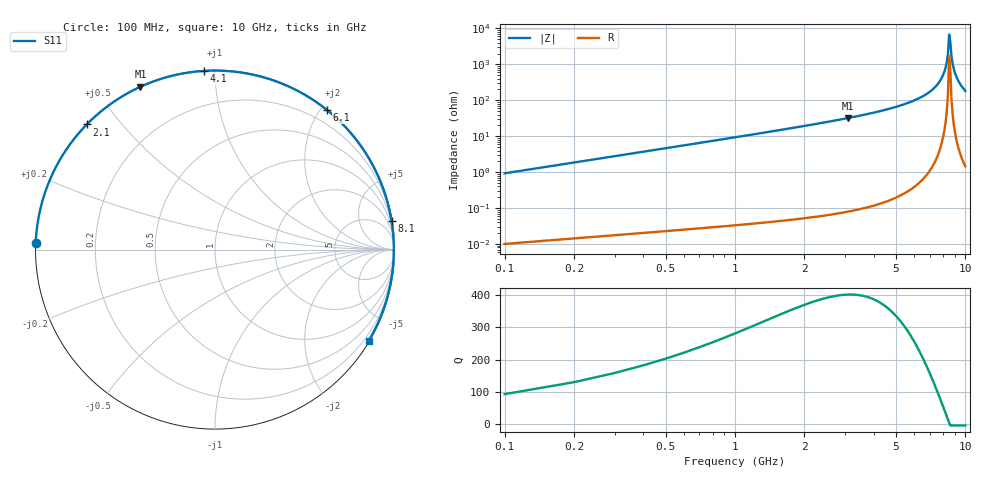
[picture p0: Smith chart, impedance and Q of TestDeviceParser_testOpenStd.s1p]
! File created by SignalIntegrity v1.1.13: Signal and Power Integrity Tools
! https://github.com/TeledyneLeCroy/SignalIntegrity
# MHz S MA R 50.0
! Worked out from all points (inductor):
!   100 points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, 100 MHz to 10 GHz, reference 50 ohm
!   read as one part to ground: L = 1.47 nH near 100 MHz
!   highest Q = 402 at 3.1 GHz (marker M1), where L = 1.65 nH
!   self-resonance near 8.5 GHz
!   S11 on the Smith chart (normalised r, x): 100 MHz: 0.00, +0.02; 2.1 GHz: 0.00, +0.41; 4.1 GHz: 0.00, +0.94; 6.1 GHz: 0.01, +2.08; 8.1 GHz: 0, +12; 10 GHz: 0.03, -3.63
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100  0.9996 177.9
400  0.9992 171.5
700  0.9989 165.2
1000  0.9987 158.9
1400  0.9985 150.4
1700  0.9983 144.1
2100  0.9981 135.7
2600  0.9979 125.1
3100  0.9977 114.6
3500  0.9976 106.2
3900  0.9975 97.7
4100  0.9974 93.5
4600  0.9972 83.0
5100  0.9971 72.5
5600  0.997 61.9
6100  0.9968 51.4
6300  0.9968 47.2
6700  0.9967 38.7
7000  0.9966 32.4
7300  0.9965 26.1
7600  0.9965 19.8
8100  0.9963 9.2
8500  0.9963 0.8
8800  0.9962 -5.5
9100  0.9961 -11.8
9400  0.9961 -18.1
9700  0.996 -24.5
10000  0.9959 -30.8
